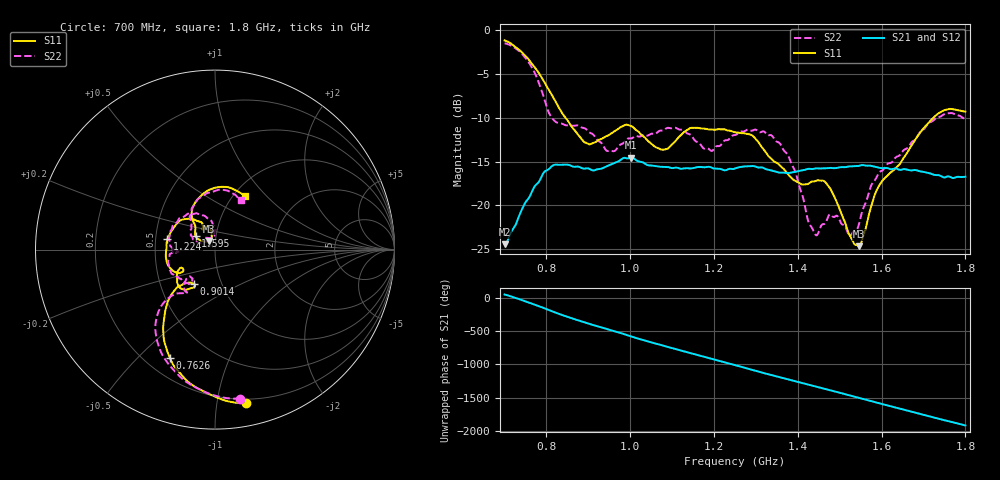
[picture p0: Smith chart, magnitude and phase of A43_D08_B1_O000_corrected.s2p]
! Created with skrf 1.9.0 (http://scikit-rf.org).
# Hz S RI R 50.0
!freq ReS11 ImS11 ReS21 ImS21 ReS12 ImS12 ReS22 ImS22
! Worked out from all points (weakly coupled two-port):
!   1601 points, 700 MHz to 1.8 GHz, reference 50 ohm
!   highest |S21| = -14.55 dB at 1.002 GHz (marker M1); lowest = -24.4 dB at 700.7 MHz (marker M2)
!   lowest |S11| = -24.7 dB at 1.546 GHz (marker M3), VSWR 1.12, Z = 46.6 + j4.52 ohm
!   |S11| at or under -10 dB: 845.6 MHz to 1.724 GHz (878.1 MHz wide, 68.4 % of centre)
!   |S22| runs from -23.5 to -1.5 dB; largest |S21 - S12| = 0.0036
!   S11 on the Smith chart (normalised r, x): 700 MHz: 0.17, -1.21; 762.6 MHz: 0.30, -0.63; 901.4 MHz: 0.74, -0.29; 1.224 GHz: 0.58, +0.07; 1.595 GHz: 0.80, +0.12; 1.8 GHz: 1.13, +0.76
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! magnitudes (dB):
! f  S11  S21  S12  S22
! 700 MHz  -1.2  -24.4  -24.2  -1.5
! 700.7 MHz  -1.2  -24.4  -24.1  -1.5
! 762.6 MHz  -3.7  -18.7  -18.7  -4.1
! 815.5 MHz  -7.6  -15.4  -15.5  -10.2
! 883.6 MHz  -12.4  -15.7  -15.6  -11.1
! 901.4 MHz  -13.0  -15.8  -15.8  -11.6
! 947.5 MHz  -12.0  -15.5  -15.5  -13.8
! 1.002 GHz  -10.9  -14.6  -14.7  -12.4
! 1.067 GHz  -13.5  -15.6  -15.5  -11.6
! 1.144 GHz  -11.2  -15.8  -15.8  -12.0
! 1.224 GHz  -11.3  -16.0  -16.0  -12.6
! 1.25 GHz  -11.7  -15.8  -15.7  -12.0
! 1.357 GHz  -15.5  -16.3  -16.2  -12.9
! 1.394 GHz  -17.2  -16.2  -16.2  -16.1
! 1.434 GHz  -17.3  -15.9  -15.8  -22.6
! 1.472 GHz  -17.7  -15.8  -15.8  -21.3
! 1.524 GHz  -23.5  -15.5  -15.6  -23.5
! 1.546 GHz  -24.7  -15.5  -15.5  -22.1
! 1.595 GHz  -17.7  -15.7  -15.7  -16.2
! 1.617 GHz  -16.5  -15.8  -15.8  -15.2
! 1.732 GHz  -9.6  -16.5  -16.6  -10.0
! 1.8 GHz  -9.3  -16.7  -16.7  -10.1
